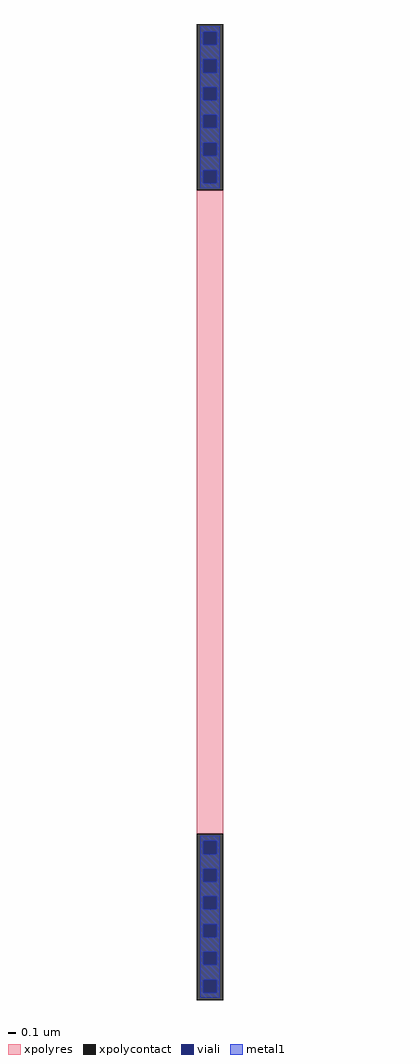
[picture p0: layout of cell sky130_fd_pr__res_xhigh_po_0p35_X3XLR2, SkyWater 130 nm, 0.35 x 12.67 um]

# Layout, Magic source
magic
tech sky130A
magscale 1 2
<< xpolycontact >>
rect -35 835 35 1267
rect -35 -1267 35 -835
<< xpolyres >>
rect -35 -835 35 835
<< viali >>
rect -17 1213 17 1247
rect -17 1141 17 1175
rect -17 1069 17 1103
rect -17 997 17 1031
rect -17 925 17 959
rect -17 853 17 887
rect -17 -888 17 -854
rect -17 -960 17 -926
rect -17 -1032 17 -998
rect -17 -1104 17 -1070
rect -17 -1176 17 -1142
rect -17 -1248 17 -1214
<< metal1 >>
rect -25 1247 25 1261
rect -25 1213 -17 1247
rect 17 1213 25 1247
rect -25 1175 25 1213
rect -25 1141 -17 1175
rect 17 1141 25 1175
rect -25 1103 25 1141
rect -25 1069 -17 1103
rect 17 1069 25 1103
rect -25 1031 25 1069
rect -25 997 -17 1031
rect 17 997 25 1031
rect -25 959 25 997
rect -25 925 -17 959
rect 17 925 25 959
rect -25 887 25 925
rect -25 853 -17 887
rect 17 853 25 887
rect -25 840 25 853
rect -25 -854 25 -840
rect -25 -888 -17 -854
rect 17 -888 25 -854
rect -25 -926 25 -888
rect -25 -960 -17 -926
rect 17 -960 25 -926
rect -25 -998 25 -960
rect -25 -1032 -17 -998
rect 17 -1032 25 -998
rect -25 -1070 25 -1032
rect -25 -1104 -17 -1070
rect 17 -1104 25 -1070
rect -25 -1142 25 -1104
rect -25 -1176 -17 -1142
rect 17 -1176 25 -1142
rect -25 -1214 25 -1176
rect -25 -1248 -17 -1214
rect 17 -1248 25 -1214
rect -25 -1261 25 -1248
<< end >>
